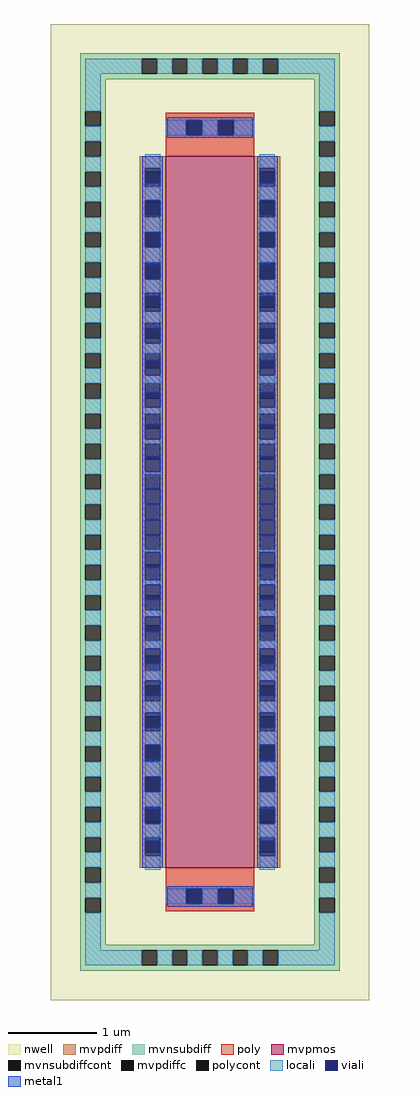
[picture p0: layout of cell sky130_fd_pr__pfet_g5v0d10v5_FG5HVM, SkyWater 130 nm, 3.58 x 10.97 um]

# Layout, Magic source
magic
tech sky130A
magscale 1 2
<< nwell >>
rect -358 -1097 358 1097
<< mvpmos >>
rect -100 -800 100 800
<< mvpdiff >>
rect -158 765 -100 800
rect -158 731 -146 765
rect -112 731 -100 765
rect -158 697 -100 731
rect -158 663 -146 697
rect -112 663 -100 697
rect -158 629 -100 663
rect -158 595 -146 629
rect -112 595 -100 629
rect -158 561 -100 595
rect -158 527 -146 561
rect -112 527 -100 561
rect -158 493 -100 527
rect -158 459 -146 493
rect -112 459 -100 493
rect -158 425 -100 459
rect -158 391 -146 425
rect -112 391 -100 425
rect -158 357 -100 391
rect -158 323 -146 357
rect -112 323 -100 357
rect -158 289 -100 323
rect -158 255 -146 289
rect -112 255 -100 289
rect -158 221 -100 255
rect -158 187 -146 221
rect -112 187 -100 221
rect -158 153 -100 187
rect -158 119 -146 153
rect -112 119 -100 153
rect -158 85 -100 119
rect -158 51 -146 85
rect -112 51 -100 85
rect -158 17 -100 51
rect -158 -17 -146 17
rect -112 -17 -100 17
rect -158 -51 -100 -17
rect -158 -85 -146 -51
rect -112 -85 -100 -51
rect -158 -119 -100 -85
rect -158 -153 -146 -119
rect -112 -153 -100 -119
rect -158 -187 -100 -153
rect -158 -221 -146 -187
rect -112 -221 -100 -187
rect -158 -255 -100 -221
rect -158 -289 -146 -255
rect -112 -289 -100 -255
rect -158 -323 -100 -289
rect -158 -357 -146 -323
rect -112 -357 -100 -323
rect -158 -391 -100 -357
rect -158 -425 -146 -391
rect -112 -425 -100 -391
rect -158 -459 -100 -425
rect -158 -493 -146 -459
rect -112 -493 -100 -459
rect -158 -527 -100 -493
rect -158 -561 -146 -527
rect -112 -561 -100 -527
rect -158 -595 -100 -561
rect -158 -629 -146 -595
rect -112 -629 -100 -595
rect -158 -663 -100 -629
rect -158 -697 -146 -663
rect -112 -697 -100 -663
rect -158 -731 -100 -697
rect -158 -765 -146 -731
rect -112 -765 -100 -731
rect -158 -800 -100 -765
rect 100 765 158 800
rect 100 731 112 765
rect 146 731 158 765
rect 100 697 158 731
rect 100 663 112 697
rect 146 663 158 697
rect 100 629 158 663
rect 100 595 112 629
rect 146 595 158 629
rect 100 561 158 595
rect 100 527 112 561
rect 146 527 158 561
rect 100 493 158 527
rect 100 459 112 493
rect 146 459 158 493
rect 100 425 158 459
rect 100 391 112 425
rect 146 391 158 425
rect 100 357 158 391
rect 100 323 112 357
rect 146 323 158 357
rect 100 289 158 323
rect 100 255 112 289
rect 146 255 158 289
rect 100 221 158 255
rect 100 187 112 221
rect 146 187 158 221
rect 100 153 158 187
rect 100 119 112 153
rect 146 119 158 153
rect 100 85 158 119
rect 100 51 112 85
rect 146 51 158 85
rect 100 17 158 51
rect 100 -17 112 17
rect 146 -17 158 17
rect 100 -51 158 -17
rect 100 -85 112 -51
rect 146 -85 158 -51
rect 100 -119 158 -85
rect 100 -153 112 -119
rect 146 -153 158 -119
rect 100 -187 158 -153
rect 100 -221 112 -187
rect 146 -221 158 -187
rect 100 -255 158 -221
rect 100 -289 112 -255
rect 146 -289 158 -255
rect 100 -323 158 -289
rect 100 -357 112 -323
rect 146 -357 158 -323
rect 100 -391 158 -357
rect 100 -425 112 -391
rect 146 -425 158 -391
rect 100 -459 158 -425
rect 100 -493 112 -459
rect 146 -493 158 -459
rect 100 -527 158 -493
rect 100 -561 112 -527
rect 146 -561 158 -527
rect 100 -595 158 -561
rect 100 -629 112 -595
rect 146 -629 158 -595
rect 100 -663 158 -629
rect 100 -697 112 -663
rect 146 -697 158 -663
rect 100 -731 158 -697
rect 100 -765 112 -731
rect 146 -765 158 -731
rect 100 -800 158 -765
<< mvpdiffc >>
rect -146 731 -112 765
rect -146 663 -112 697
rect -146 595 -112 629
rect -146 527 -112 561
rect -146 459 -112 493
rect -146 391 -112 425
rect -146 323 -112 357
rect -146 255 -112 289
rect -146 187 -112 221
rect -146 119 -112 153
rect -146 51 -112 85
rect -146 -17 -112 17
rect -146 -85 -112 -51
rect -146 -153 -112 -119
rect -146 -221 -112 -187
rect -146 -289 -112 -255
rect -146 -357 -112 -323
rect -146 -425 -112 -391
rect -146 -493 -112 -459
rect -146 -561 -112 -527
rect -146 -629 -112 -595
rect -146 -697 -112 -663
rect -146 -765 -112 -731
rect 112 731 146 765
rect 112 663 146 697
rect 112 595 146 629
rect 112 527 146 561
rect 112 459 146 493
rect 112 391 146 425
rect 112 323 146 357
rect 112 255 146 289
rect 112 187 146 221
rect 112 119 146 153
rect 112 51 146 85
rect 112 -17 146 17
rect 112 -85 146 -51
rect 112 -153 146 -119
rect 112 -221 146 -187
rect 112 -289 146 -255
rect 112 -357 146 -323
rect 112 -425 146 -391
rect 112 -493 146 -459
rect 112 -561 146 -527
rect 112 -629 146 -595
rect 112 -697 146 -663
rect 112 -765 146 -731
<< mvnsubdiff >>
rect -292 1019 292 1031
rect -292 985 -153 1019
rect -119 985 -85 1019
rect -51 985 -17 1019
rect 17 985 51 1019
rect 85 985 119 1019
rect 153 985 292 1019
rect -292 973 292 985
rect -292 901 -234 973
rect -292 867 -280 901
rect -246 867 -234 901
rect 234 901 292 973
rect -292 833 -234 867
rect -292 799 -280 833
rect -246 799 -234 833
rect 234 867 246 901
rect 280 867 292 901
rect 234 833 292 867
rect -292 765 -234 799
rect -292 731 -280 765
rect -246 731 -234 765
rect -292 697 -234 731
rect -292 663 -280 697
rect -246 663 -234 697
rect -292 629 -234 663
rect -292 595 -280 629
rect -246 595 -234 629
rect -292 561 -234 595
rect -292 527 -280 561
rect -246 527 -234 561
rect -292 493 -234 527
rect -292 459 -280 493
rect -246 459 -234 493
rect -292 425 -234 459
rect -292 391 -280 425
rect -246 391 -234 425
rect -292 357 -234 391
rect -292 323 -280 357
rect -246 323 -234 357
rect -292 289 -234 323
rect -292 255 -280 289
rect -246 255 -234 289
rect -292 221 -234 255
rect -292 187 -280 221
rect -246 187 -234 221
rect -292 153 -234 187
rect -292 119 -280 153
rect -246 119 -234 153
rect -292 85 -234 119
rect -292 51 -280 85
rect -246 51 -234 85
rect -292 17 -234 51
rect -292 -17 -280 17
rect -246 -17 -234 17
rect -292 -51 -234 -17
rect -292 -85 -280 -51
rect -246 -85 -234 -51
rect -292 -119 -234 -85
rect -292 -153 -280 -119
rect -246 -153 -234 -119
rect -292 -187 -234 -153
rect -292 -221 -280 -187
rect -246 -221 -234 -187
rect -292 -255 -234 -221
rect -292 -289 -280 -255
rect -246 -289 -234 -255
rect -292 -323 -234 -289
rect -292 -357 -280 -323
rect -246 -357 -234 -323
rect -292 -391 -234 -357
rect -292 -425 -280 -391
rect -246 -425 -234 -391
rect -292 -459 -234 -425
rect -292 -493 -280 -459
rect -246 -493 -234 -459
rect -292 -527 -234 -493
rect -292 -561 -280 -527
rect -246 -561 -234 -527
rect -292 -595 -234 -561
rect -292 -629 -280 -595
rect -246 -629 -234 -595
rect -292 -663 -234 -629
rect -292 -697 -280 -663
rect -246 -697 -234 -663
rect -292 -731 -234 -697
rect -292 -765 -280 -731
rect -246 -765 -234 -731
rect -292 -799 -234 -765
rect -292 -833 -280 -799
rect -246 -833 -234 -799
rect 234 799 246 833
rect 280 799 292 833
rect 234 765 292 799
rect 234 731 246 765
rect 280 731 292 765
rect 234 697 292 731
rect 234 663 246 697
rect 280 663 292 697
rect 234 629 292 663
rect 234 595 246 629
rect 280 595 292 629
rect 234 561 292 595
rect 234 527 246 561
rect 280 527 292 561
rect 234 493 292 527
rect 234 459 246 493
rect 280 459 292 493
rect 234 425 292 459
rect 234 391 246 425
rect 280 391 292 425
rect 234 357 292 391
rect 234 323 246 357
rect 280 323 292 357
rect 234 289 292 323
rect 234 255 246 289
rect 280 255 292 289
rect 234 221 292 255
rect 234 187 246 221
rect 280 187 292 221
rect 234 153 292 187
rect 234 119 246 153
rect 280 119 292 153
rect 234 85 292 119
rect 234 51 246 85
rect 280 51 292 85
rect 234 17 292 51
rect 234 -17 246 17
rect 280 -17 292 17
rect 234 -51 292 -17
rect 234 -85 246 -51
rect 280 -85 292 -51
rect 234 -119 292 -85
rect 234 -153 246 -119
rect 280 -153 292 -119
rect 234 -187 292 -153
rect 234 -221 246 -187
rect 280 -221 292 -187
rect 234 -255 292 -221
rect 234 -289 246 -255
rect 280 -289 292 -255
rect 234 -323 292 -289
rect 234 -357 246 -323
rect 280 -357 292 -323
rect 234 -391 292 -357
rect 234 -425 246 -391
rect 280 -425 292 -391
rect 234 -459 292 -425
rect 234 -493 246 -459
rect 280 -493 292 -459
rect 234 -527 292 -493
rect 234 -561 246 -527
rect 280 -561 292 -527
rect 234 -595 292 -561
rect 234 -629 246 -595
rect 280 -629 292 -595
rect 234 -663 292 -629
rect 234 -697 246 -663
rect 280 -697 292 -663
rect 234 -731 292 -697
rect 234 -765 246 -731
rect 280 -765 292 -731
rect 234 -799 292 -765
rect -292 -867 -234 -833
rect -292 -901 -280 -867
rect -246 -901 -234 -867
rect 234 -833 246 -799
rect 280 -833 292 -799
rect 234 -867 292 -833
rect -292 -973 -234 -901
rect 234 -901 246 -867
rect 280 -901 292 -867
rect 234 -973 292 -901
rect -292 -985 292 -973
rect -292 -1019 -153 -985
rect -119 -1019 -85 -985
rect -51 -1019 -17 -985
rect 17 -1019 51 -985
rect 85 -1019 119 -985
rect 153 -1019 292 -985
rect -292 -1031 292 -1019
<< mvnsubdiffcont >>
rect -153 985 -119 1019
rect -85 985 -51 1019
rect -17 985 17 1019
rect 51 985 85 1019
rect 119 985 153 1019
rect -280 867 -246 901
rect -280 799 -246 833
rect 246 867 280 901
rect -280 731 -246 765
rect -280 663 -246 697
rect -280 595 -246 629
rect -280 527 -246 561
rect -280 459 -246 493
rect -280 391 -246 425
rect -280 323 -246 357
rect -280 255 -246 289
rect -280 187 -246 221
rect -280 119 -246 153
rect -280 51 -246 85
rect -280 -17 -246 17
rect -280 -85 -246 -51
rect -280 -153 -246 -119
rect -280 -221 -246 -187
rect -280 -289 -246 -255
rect -280 -357 -246 -323
rect -280 -425 -246 -391
rect -280 -493 -246 -459
rect -280 -561 -246 -527
rect -280 -629 -246 -595
rect -280 -697 -246 -663
rect -280 -765 -246 -731
rect -280 -833 -246 -799
rect 246 799 280 833
rect 246 731 280 765
rect 246 663 280 697
rect 246 595 280 629
rect 246 527 280 561
rect 246 459 280 493
rect 246 391 280 425
rect 246 323 280 357
rect 246 255 280 289
rect 246 187 280 221
rect 246 119 280 153
rect 246 51 280 85
rect 246 -17 280 17
rect 246 -85 280 -51
rect 246 -153 280 -119
rect 246 -221 280 -187
rect 246 -289 280 -255
rect 246 -357 280 -323
rect 246 -425 280 -391
rect 246 -493 280 -459
rect 246 -561 280 -527
rect 246 -629 280 -595
rect 246 -697 280 -663
rect 246 -765 280 -731
rect -280 -901 -246 -867
rect 246 -833 280 -799
rect 246 -901 280 -867
rect -153 -1019 -119 -985
rect -85 -1019 -51 -985
rect -17 -1019 17 -985
rect 51 -1019 85 -985
rect 119 -1019 153 -985
<< poly >>
rect -100 881 100 897
rect -100 847 -51 881
rect -17 847 17 881
rect 51 847 100 881
rect -100 800 100 847
rect -100 -847 100 -800
rect -100 -881 -51 -847
rect -17 -881 17 -847
rect 51 -881 100 -847
rect -100 -897 100 -881
<< polycont >>
rect -51 847 -17 881
rect 17 847 51 881
rect -51 -881 -17 -847
rect 17 -881 51 -847
<< locali >>
rect -280 985 -153 1019
rect -119 985 -85 1019
rect -51 985 -17 1019
rect 17 985 51 1019
rect 85 985 119 1019
rect 153 985 280 1019
rect -280 901 -246 985
rect 246 901 280 985
rect -280 833 -246 867
rect -100 847 -53 881
rect -17 847 17 881
rect 53 847 100 881
rect 246 833 280 867
rect -280 765 -246 799
rect -280 697 -246 731
rect -280 629 -246 663
rect -280 561 -246 595
rect -280 493 -246 527
rect -280 425 -246 459
rect -280 357 -246 391
rect -280 289 -246 323
rect -280 221 -246 255
rect -280 153 -246 187
rect -280 85 -246 119
rect -280 17 -246 51
rect -280 -51 -246 -17
rect -280 -119 -246 -85
rect -280 -187 -246 -153
rect -280 -255 -246 -221
rect -280 -323 -246 -289
rect -280 -391 -246 -357
rect -280 -459 -246 -425
rect -280 -527 -246 -493
rect -280 -595 -246 -561
rect -280 -663 -246 -629
rect -280 -731 -246 -697
rect -280 -799 -246 -765
rect -146 773 -112 804
rect -146 701 -112 731
rect -146 629 -112 663
rect -146 561 -112 595
rect -146 493 -112 523
rect -146 425 -112 451
rect -146 357 -112 379
rect -146 289 -112 307
rect -146 221 -112 235
rect -146 153 -112 163
rect -146 85 -112 91
rect -146 17 -112 19
rect -146 -19 -112 -17
rect -146 -91 -112 -85
rect -146 -163 -112 -153
rect -146 -235 -112 -221
rect -146 -307 -112 -289
rect -146 -379 -112 -357
rect -146 -451 -112 -425
rect -146 -523 -112 -493
rect -146 -595 -112 -561
rect -146 -663 -112 -629
rect -146 -731 -112 -701
rect -146 -804 -112 -773
rect 112 773 146 804
rect 112 701 146 731
rect 112 629 146 663
rect 112 561 146 595
rect 112 493 146 523
rect 112 425 146 451
rect 112 357 146 379
rect 112 289 146 307
rect 112 221 146 235
rect 112 153 146 163
rect 112 85 146 91
rect 112 17 146 19
rect 112 -19 146 -17
rect 112 -91 146 -85
rect 112 -163 146 -153
rect 112 -235 146 -221
rect 112 -307 146 -289
rect 112 -379 146 -357
rect 112 -451 146 -425
rect 112 -523 146 -493
rect 112 -595 146 -561
rect 112 -663 146 -629
rect 112 -731 146 -701
rect 112 -804 146 -773
rect 246 765 280 799
rect 246 697 280 731
rect 246 629 280 663
rect 246 561 280 595
rect 246 493 280 527
rect 246 425 280 459
rect 246 357 280 391
rect 246 289 280 323
rect 246 221 280 255
rect 246 153 280 187
rect 246 85 280 119
rect 246 17 280 51
rect 246 -51 280 -17
rect 246 -119 280 -85
rect 246 -187 280 -153
rect 246 -255 280 -221
rect 246 -323 280 -289
rect 246 -391 280 -357
rect 246 -459 280 -425
rect 246 -527 280 -493
rect 246 -595 280 -561
rect 246 -663 280 -629
rect 246 -731 280 -697
rect 246 -799 280 -765
rect -280 -867 -246 -833
rect -100 -881 -53 -847
rect -17 -881 17 -847
rect 53 -881 100 -847
rect 246 -867 280 -833
rect -280 -985 -246 -901
rect 246 -985 280 -901
rect -280 -1019 -153 -985
rect -119 -1019 -85 -985
rect -51 -1019 -17 -985
rect 17 -1019 51 -985
rect 85 -1019 119 -985
rect 153 -1019 280 -985
<< viali >>
rect -53 847 -51 881
rect -51 847 -19 881
rect 19 847 51 881
rect 51 847 53 881
rect -146 765 -112 773
rect -146 739 -112 765
rect -146 697 -112 701
rect -146 667 -112 697
rect -146 595 -112 629
rect -146 527 -112 557
rect -146 523 -112 527
rect -146 459 -112 485
rect -146 451 -112 459
rect -146 391 -112 413
rect -146 379 -112 391
rect -146 323 -112 341
rect -146 307 -112 323
rect -146 255 -112 269
rect -146 235 -112 255
rect -146 187 -112 197
rect -146 163 -112 187
rect -146 119 -112 125
rect -146 91 -112 119
rect -146 51 -112 53
rect -146 19 -112 51
rect -146 -51 -112 -19
rect -146 -53 -112 -51
rect -146 -119 -112 -91
rect -146 -125 -112 -119
rect -146 -187 -112 -163
rect -146 -197 -112 -187
rect -146 -255 -112 -235
rect -146 -269 -112 -255
rect -146 -323 -112 -307
rect -146 -341 -112 -323
rect -146 -391 -112 -379
rect -146 -413 -112 -391
rect -146 -459 -112 -451
rect -146 -485 -112 -459
rect -146 -527 -112 -523
rect -146 -557 -112 -527
rect -146 -629 -112 -595
rect -146 -697 -112 -667
rect -146 -701 -112 -697
rect -146 -765 -112 -739
rect -146 -773 -112 -765
rect 112 765 146 773
rect 112 739 146 765
rect 112 697 146 701
rect 112 667 146 697
rect 112 595 146 629
rect 112 527 146 557
rect 112 523 146 527
rect 112 459 146 485
rect 112 451 146 459
rect 112 391 146 413
rect 112 379 146 391
rect 112 323 146 341
rect 112 307 146 323
rect 112 255 146 269
rect 112 235 146 255
rect 112 187 146 197
rect 112 163 146 187
rect 112 119 146 125
rect 112 91 146 119
rect 112 51 146 53
rect 112 19 146 51
rect 112 -51 146 -19
rect 112 -53 146 -51
rect 112 -119 146 -91
rect 112 -125 146 -119
rect 112 -187 146 -163
rect 112 -197 146 -187
rect 112 -255 146 -235
rect 112 -269 146 -255
rect 112 -323 146 -307
rect 112 -341 146 -323
rect 112 -391 146 -379
rect 112 -413 146 -391
rect 112 -459 146 -451
rect 112 -485 146 -459
rect 112 -527 146 -523
rect 112 -557 146 -527
rect 112 -629 146 -595
rect 112 -697 146 -667
rect 112 -701 146 -697
rect 112 -765 146 -739
rect 112 -773 146 -765
rect -53 -881 -51 -847
rect -51 -881 -19 -847
rect 19 -881 51 -847
rect 51 -881 53 -847
<< metal1 >>
rect -96 881 96 887
rect -96 847 -53 881
rect -19 847 19 881
rect 53 847 96 881
rect -96 841 96 847
rect -152 773 -106 800
rect -152 739 -146 773
rect -112 739 -106 773
rect -152 701 -106 739
rect -152 667 -146 701
rect -112 667 -106 701
rect -152 629 -106 667
rect -152 595 -146 629
rect -112 595 -106 629
rect -152 557 -106 595
rect -152 523 -146 557
rect -112 523 -106 557
rect -152 485 -106 523
rect -152 451 -146 485
rect -112 451 -106 485
rect -152 413 -106 451
rect -152 379 -146 413
rect -112 379 -106 413
rect -152 341 -106 379
rect -152 307 -146 341
rect -112 307 -106 341
rect -152 269 -106 307
rect -152 235 -146 269
rect -112 235 -106 269
rect -152 197 -106 235
rect -152 163 -146 197
rect -112 163 -106 197
rect -152 125 -106 163
rect -152 91 -146 125
rect -112 91 -106 125
rect -152 53 -106 91
rect -152 19 -146 53
rect -112 19 -106 53
rect -152 -19 -106 19
rect -152 -53 -146 -19
rect -112 -53 -106 -19
rect -152 -91 -106 -53
rect -152 -125 -146 -91
rect -112 -125 -106 -91
rect -152 -163 -106 -125
rect -152 -197 -146 -163
rect -112 -197 -106 -163
rect -152 -235 -106 -197
rect -152 -269 -146 -235
rect -112 -269 -106 -235
rect -152 -307 -106 -269
rect -152 -341 -146 -307
rect -112 -341 -106 -307
rect -152 -379 -106 -341
rect -152 -413 -146 -379
rect -112 -413 -106 -379
rect -152 -451 -106 -413
rect -152 -485 -146 -451
rect -112 -485 -106 -451
rect -152 -523 -106 -485
rect -152 -557 -146 -523
rect -112 -557 -106 -523
rect -152 -595 -106 -557
rect -152 -629 -146 -595
rect -112 -629 -106 -595
rect -152 -667 -106 -629
rect -152 -701 -146 -667
rect -112 -701 -106 -667
rect -152 -739 -106 -701
rect -152 -773 -146 -739
rect -112 -773 -106 -739
rect -152 -800 -106 -773
rect 106 773 152 800
rect 106 739 112 773
rect 146 739 152 773
rect 106 701 152 739
rect 106 667 112 701
rect 146 667 152 701
rect 106 629 152 667
rect 106 595 112 629
rect 146 595 152 629
rect 106 557 152 595
rect 106 523 112 557
rect 146 523 152 557
rect 106 485 152 523
rect 106 451 112 485
rect 146 451 152 485
rect 106 413 152 451
rect 106 379 112 413
rect 146 379 152 413
rect 106 341 152 379
rect 106 307 112 341
rect 146 307 152 341
rect 106 269 152 307
rect 106 235 112 269
rect 146 235 152 269
rect 106 197 152 235
rect 106 163 112 197
rect 146 163 152 197
rect 106 125 152 163
rect 106 91 112 125
rect 146 91 152 125
rect 106 53 152 91
rect 106 19 112 53
rect 146 19 152 53
rect 106 -19 152 19
rect 106 -53 112 -19
rect 146 -53 152 -19
rect 106 -91 152 -53
rect 106 -125 112 -91
rect 146 -125 152 -91
rect 106 -163 152 -125
rect 106 -197 112 -163
rect 146 -197 152 -163
rect 106 -235 152 -197
rect 106 -269 112 -235
rect 146 -269 152 -235
rect 106 -307 152 -269
rect 106 -341 112 -307
rect 146 -341 152 -307
rect 106 -379 152 -341
rect 106 -413 112 -379
rect 146 -413 152 -379
rect 106 -451 152 -413
rect 106 -485 112 -451
rect 146 -485 152 -451
rect 106 -523 152 -485
rect 106 -557 112 -523
rect 146 -557 152 -523
rect 106 -595 152 -557
rect 106 -629 112 -595
rect 146 -629 152 -595
rect 106 -667 152 -629
rect 106 -701 112 -667
rect 146 -701 152 -667
rect 106 -739 152 -701
rect 106 -773 112 -739
rect 146 -773 152 -739
rect 106 -800 152 -773
rect -96 -847 96 -841
rect -96 -881 -53 -847
rect -19 -881 19 -847
rect 53 -881 96 -847
rect -96 -887 96 -881
<< properties >>
string FIXED_BBOX -263 -1002 263 1002
<< end >>
